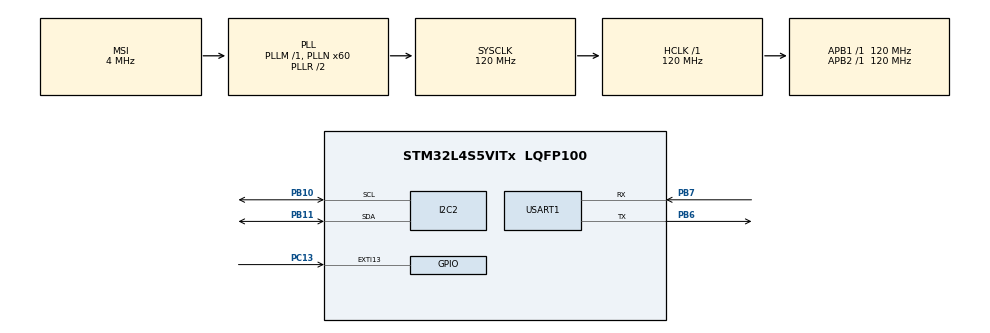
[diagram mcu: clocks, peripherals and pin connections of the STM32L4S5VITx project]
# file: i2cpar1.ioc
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I2C2.Timing=0x307075B1
Mcu.Family=STM32L4
Mcu.Name=STM32L4S5VITx
Mcu.Package=LQFP100
NVIC.EXTI15_10_IRQn=true\:0\:0\:false\:false\:true\:true\:true
NVIC.PriorityGroup=NVIC_PRIORITYGROUP_4
PB10.Mode=I2C
PB10.Signal=I2C2_SCL
PB11.Mode=I2C
PB11.Signal=I2C2_SDA
PB6.Mode=Asynchronous
PB6.Signal=USART1_TX
PB7.Mode=Asynchronous
PB7.Signal=USART1_RX
PC13.Signal=GPXTI13
ProjectManager.HeapSize=0x200
ProjectManager.StackSize=0x400
ProjectManager.TargetToolchain=STM32CubeIDE
RCC.ADCFreq_Value=48000000
RCC.AHBFreq_Value=120000000
RCC.APB1Freq_Value=120000000
RCC.APB1TimFreq_Value=120000000
RCC.APB2Freq_Value=120000000
RCC.APB2TimFreq_Value=120000000
RCC.CortexFreq_Value=120000000
RCC.HCLKFreq_Value=120000000
RCC.HSE_VALUE=8000000
RCC.HSI48_VALUE=48000000
RCC.HSI_VALUE=16000000
RCC.LSE_VALUE=32768
RCC.MSI_VALUE=4000000
RCC.PLLN=60
RCC.PLLSAI1N=24
RCC.SYSCLKFreq_VALUE=120000000
RCC.SYSCLKSource=RCC_SYSCLKSOURCE_PLLCLK
RCC.USBFreq_Value=48000000
RCC.VCOOutputFreq_Value=240000000
USART1.VirtualMode-Asynchronous=VM_ASYNC
board=B-L4S5I-IOT01A

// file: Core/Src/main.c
/* USER CODE BEGIN Header */
/**
 ******************************************************************************
 * @file           : main.c
 * @brief          : Main program body
 ******************************************************************************
 * @attention
 *
 * <h2><center>&copy; Copyright (c) 2021 STMicroelectronics.
 * All rights reserved.</center></h2>
 *
 * This software component is licensed by ST under BSD 3-Clause license,
 * the "License"; You may not use this file except in compliance with the
 * License. You may obtain a copy of the License at:
 *                        opensource.org/licenses/BSD-3-Clause
 *
 ******************************************************************************
 */
/* USER CODE END Header */
#include "main.h"

I2C_HandleTypeDef hi2c2;

UART_HandleTypeDef huart1;

/* USER CODE BEGIN PV */
char global_buffer[100];
float humidity;
uint16_t magneto_values[3];
float gyro_values[3];
float pressure;
int counter = 0;
/* USER CODE END PV */

void SystemClock_Config(void);
static void MX_GPIO_Init(void);
static void MX_I2C2_Init(void);
static void MX_USART1_UART_Init(void);

/* USER CODE BEGIN 0 */

// handles interupts from the user button
void HAL_GPIO_EXTI_Callback(uint16_t GPIO_PIN) {
	if (GPIO_PIN == GPIO_PIN_13) {
		counter++;
		counter = counter % 4;
	}
}

/* USER CODE END 0 */

int main(void) {

	/* MCU Configuration--------------------------------------------------------*/

	/* Reset of all peripherals, Initializes the Flash interface and the Systick. */
	HAL_Init();

	/* Configure the system clock */
	SystemClock_Config();

	/* Initialize all configured peripherals */
	MX_GPIO_Init();
	MX_I2C2_Init();
	MX_USART1_UART_Init();
	/* USER CODE BEGIN 2 */

	BSP_HSENSOR_Init(); //humidity sensor
	BSP_MAGNETO_Init(); //magnetometer
	BSP_GYRO_Init(); //gyroscope
	BSP_PSENSOR_Init(); //barometer
	/* USER CODE END 2 */

	/* Infinite loop */
	while (1) {

		/* USER CODE BEGIN 3 */
		//humidity = BSP_HSENSOR_ReadHumidity();
		//sprintf(global_buffer, "Humidity is %d ", (int)humidity);
		//BSP_MAGNETO_GetXYZ(magneto_values);
		//sprintf(global_buffer, "Magnetometer values are %d, %d, %d ", (int)magneto_values[0], (int)magneto_values[1], (int)magneto_values[2]);
		//BSP_GYRO_GetXYZ(gyro_values);
		//sprintf(global_buffer, "Gyro values are %d, %d, %d ", (int)gyro_values[0], (int)gyro_values[1], (int)gyro_values[2]);
		//pressure = BSP_PSENSOR_ReadPressure();
		//sprintf(global_buffer, "Pressure is %d ", (int)pressure);
		if (counter == 0) {
			humidity = BSP_HSENSOR_ReadHumidity();
			memset(global_buffer, 0, sizeof(global_buffer));
			sprintf(global_buffer, "Humidity is %d ", (int) humidity);
		} else if (counter == 1) {
			BSP_MAGNETO_GetXYZ(magneto_values);
			memset(global_buffer, 0, sizeof(global_buffer));
			sprintf(global_buffer, "Magnetometer values are %d, %d, %d ",
					(int) magneto_values[0], (int) magneto_values[1],
					(int) magneto_values[2]);

		} else if (counter == 2) {
			BSP_GYRO_GetXYZ(gyro_values);
			memset(global_buffer, 0, sizeof(global_buffer));
			sprintf(global_buffer, "Gyro values are %d, %d, %d ",
					(int) gyro_values[0], (int) gyro_values[1],
					(int) gyro_values[2]);

		} else if (counter == 3) {
			pressure = BSP_PSENSOR_ReadPressure();
			memset(global_buffer, 0, sizeof(global_buffer));
			sprintf(global_buffer, "Pressure is %d ", (int) pressure);

		}

		HAL_UART_Transmit(&huart1, (uint8_t*) global_buffer,
				sizeof(global_buffer), 1000);
		HAL_Delay(1000);
	}
	/* USER CODE END 3 */
}

void SystemClock_Config(void) {
	RCC_OscInitTypeDef RCC_OscInitStruct = { 0 };
	RCC_ClkInitTypeDef RCC_ClkInitStruct = { 0 };
	RCC_PeriphCLKInitTypeDef PeriphClkInit = { 0 };

	/** Configure the main internal regulator output voltage
	 */
	if (HAL_PWREx_ControlVoltageScaling(PWR_REGULATOR_VOLTAGE_SCALE1_BOOST)
			!= HAL_OK) {
		Error_Handler();
	}
	/** Initializes the RCC Oscillators according to the specified parameters
	 * in the RCC_OscInitTypeDef structure.
	 */
	RCC_OscInitStruct.OscillatorType = RCC_OSCILLATORTYPE_MSI;
	RCC_OscInitStruct.MSIState = RCC_MSI_ON;
	RCC_OscInitStruct.MSICalibrationValue = 0;
	RCC_OscInitStruct.MSIClockRange = RCC_MSIRANGE_6;
	RCC_OscInitStruct.PLL.PLLState = RCC_PLL_ON;
	RCC_OscInitStruct.PLL.PLLSource = RCC_PLLSOURCE_MSI;
	RCC_OscInitStruct.PLL.PLLM = 1;
	RCC_OscInitStruct.PLL.PLLN = 60;
	RCC_OscInitStruct.PLL.PLLP = RCC_PLLP_DIV2;
	RCC_OscInitStruct.PLL.PLLQ = RCC_PLLQ_DIV2;
	RCC_OscInitStruct.PLL.PLLR = RCC_PLLR_DIV2;
	if (HAL_RCC_OscConfig(&RCC_OscInitStruct) != HAL_OK) {
		Error_Handler();
	}
	/** Initializes the CPU, AHB and APB buses clocks
	 */
	RCC_ClkInitStruct.ClockType = RCC_CLOCKTYPE_HCLK | RCC_CLOCKTYPE_SYSCLK
			| RCC_CLOCKTYPE_PCLK1 | RCC_CLOCKTYPE_PCLK2;
	RCC_ClkInitStruct.SYSCLKSource = RCC_SYSCLKSOURCE_PLLCLK;
	RCC_ClkInitStruct.AHBCLKDivider = RCC_SYSCLK_DIV1;
	RCC_ClkInitStruct.APB1CLKDivider = RCC_HCLK_DIV1;
	RCC_ClkInitStruct.APB2CLKDivider = RCC_HCLK_DIV1;

	if (HAL_RCC_ClockConfig(&RCC_ClkInitStruct, FLASH_LATENCY_5) != HAL_OK) {
		Error_Handler();
	}
	PeriphClkInit.PeriphClockSelection = RCC_PERIPHCLK_USART1
			| RCC_PERIPHCLK_I2C2;
	PeriphClkInit.Usart1ClockSelection = RCC_USART1CLKSOURCE_PCLK2;
	PeriphClkInit.I2c2ClockSelection = RCC_I2C2CLKSOURCE_PCLK1;
	if (HAL_RCCEx_PeriphCLKConfig(&PeriphClkInit) != HAL_OK) {
		Error_Handler();
	}
}

static void MX_I2C2_Init(void) {

	hi2c2.Instance = I2C2;
	hi2c2.Init.Timing = 0x307075B1;
	hi2c2.Init.OwnAddress1 = 0;
	hi2c2.Init.AddressingMode = I2C_ADDRESSINGMODE_7BIT;
	hi2c2.Init.DualAddressMode = I2C_DUALADDRESS_DISABLE;
	hi2c2.Init.OwnAddress2 = 0;
	hi2c2.Init.OwnAddress2Masks = I2C_OA2_NOMASK;
	hi2c2.Init.GeneralCallMode = I2C_GENERALCALL_DISABLE;
	hi2c2.Init.NoStretchMode = I2C_NOSTRETCH_DISABLE;
	if (HAL_I2C_Init(&hi2c2) != HAL_OK) {
		Error_Handler();
	}
	/** Configure Analogue filter
	 */
	if (HAL_I2CEx_ConfigAnalogFilter(&hi2c2, I2C_ANALOGFILTER_ENABLE)
			!= HAL_OK) {
		Error_Handler();
	}
	/** Configure Digital filter
	 */
	if (HAL_I2CEx_ConfigDigitalFilter(&hi2c2, 0) != HAL_OK) {
		Error_Handler();
	}

}

static void MX_USART1_UART_Init(void) {

	huart1.Instance = USART1;
	huart1.Init.BaudRate = 115200;
	huart1.Init.WordLength = UART_WORDLENGTH_8B;
	huart1.Init.StopBits = UART_STOPBITS_1;
	huart1.Init.Parity = UART_PARITY_NONE;
	huart1.Init.Mode = UART_MODE_TX_RX;
	huart1.Init.HwFlowCtl = UART_HWCONTROL_NONE;
	huart1.Init.OverSampling = UART_OVERSAMPLING_16;
	huart1.Init.OneBitSampling = UART_ONE_BIT_SAMPLE_DISABLE;
	huart1.Init.ClockPrescaler = UART_PRESCALER_DIV1;
	huart1.AdvancedInit.AdvFeatureInit = UART_ADVFEATURE_NO_INIT;
	if (HAL_UART_Init(&huart1) != HAL_OK) {
		Error_Handler();
	}
	if (HAL_UARTEx_SetTxFifoThreshold(&huart1, UART_TXFIFO_THRESHOLD_1_8)
			!= HAL_OK) {
		Error_Handler();
	}
	if (HAL_UARTEx_SetRxFifoThreshold(&huart1, UART_RXFIFO_THRESHOLD_1_8)
			!= HAL_OK) {
		Error_Handler();
	}
	if (HAL_UARTEx_DisableFifoMode(&huart1) != HAL_OK) {
		Error_Handler();
	}

}

static void MX_GPIO_Init(void) {
	GPIO_InitTypeDef GPIO_InitStruct = { 0 };

	/* GPIO Ports Clock Enable */
	__HAL_RCC_GPIOC_CLK_ENABLE();
	__HAL_RCC_GPIOB_CLK_ENABLE();

	/*Configure GPIO pin : PC13 */
	GPIO_InitStruct.Pin = GPIO_PIN_13;
	GPIO_InitStruct.Mode = GPIO_MODE_IT_RISING;
	GPIO_InitStruct.Pull = GPIO_NOPULL;
	HAL_GPIO_Init(GPIOC, &GPIO_InitStruct);

	/* EXTI interrupt init*/
	HAL_NVIC_SetPriority(EXTI15_10_IRQn, 0, 0);
	HAL_NVIC_EnableIRQ(EXTI15_10_IRQn);

}

void Error_Handler(void) {
	__disable_irq();
	while (1) {
	}
}

/************************ (C) COPYRIGHT STMicroelectronics *****END OF FILE****/
